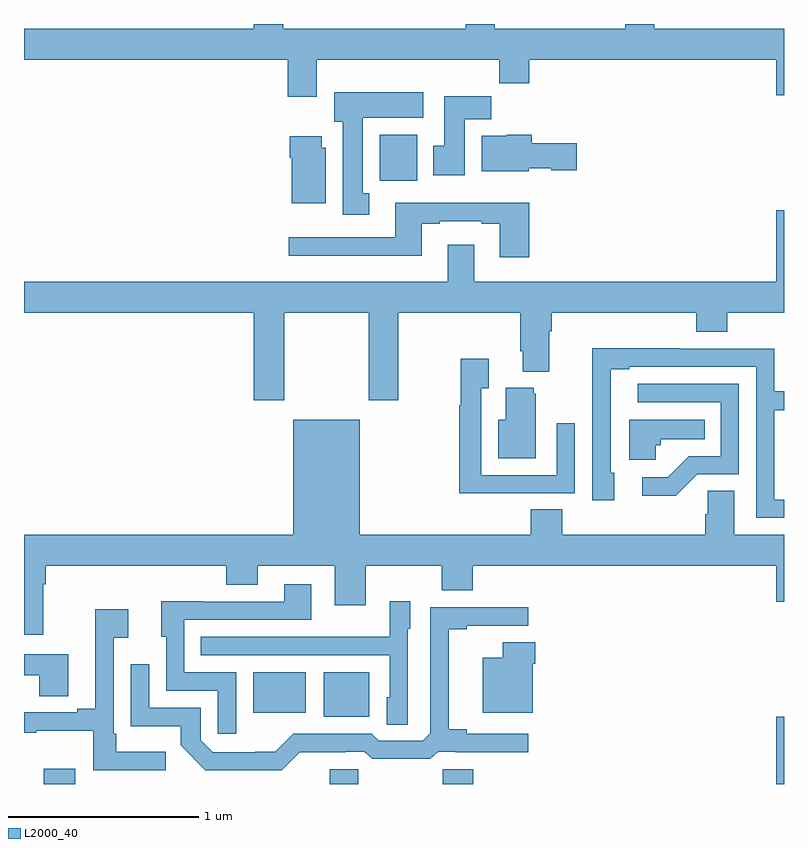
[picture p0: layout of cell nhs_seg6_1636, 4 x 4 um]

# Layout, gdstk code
import gdstk
lib = gdstk.Library(unit=1e-6, precision=1e-09)
def R(c, l, rs):  # rectangles x0, y0, x1, y1
    for r in rs: c.add(gdstk.rectangle(r[:2], r[2:], *l))
def P(c, l, *ps):  # polygons
    for p in ps: c.add(gdstk.Polygon(p, *l))
L2000_40 = (2000, 40)

nhs_seg6_1636 = lib.new_cell('nhs_seg6_1636')
R(nhs_seg6_1636, L2000_40, [(209.105,967.5,209.269,967.579), (210.608,967.5,210.759,967.578), (211.204,967.5,211.364,967.578), (212.96,967.5,213,967.855), (210.578,967.853,210.817,968.089), (210.206,967.874,210.484,968.089), (210.872,970.676,211.069,970.918)])
P(nhs_seg6_1636, L2000_40, [(210.541,971.312),(211.501,971.312),(211.501,971.188),(211.658,971.188),(211.658,971.312),(212.96,971.312),(212.96,971.124),(213,971.124),(213,971.476),(212.317,971.476),(212.317,971.5),(212.165,971.5),(212.165,971.476),(211.478,971.476),(211.478,971.5),(211.325,971.5),(211.325,971.476),(210.365,971.476),(210.365,971.5),(210.209,971.5),(210.209,971.476),(209,971.476),(209,971.312),(210.389,971.312),(210.389,971.118),(210.541,971.118)],
  [(210.817,970.61),(210.784,970.61),(210.784,971.006),(211.102,971.006),(211.102,971.14),(210.632,971.14),(210.632,970.986),(210.677,970.986),(210.677,970.497),(210.817,970.497)],
  [(211.321,971),(211.46,971),(211.46,971.119),(211.211,971.119),(211.211,970.86),(211.154,970.86),(211.154,970.704),(211.321,970.704)],
  [(211.656,970.742),(211.776,970.742),(211.776,970.73),(211.909,970.73),(211.909,970.872),(211.673,970.872),(211.673,970.918),(211.542,970.918),(211.542,970.912),(211.409,970.912),(211.409,970.724),(211.656,970.724)],
  [(210.589,970.848),(210.568,970.848),(210.568,970.909),(210.398,970.909),(210.398,970.796),(210.41,970.796),(210.41,970.556),(210.589,970.556)],
  [(211.658,970.558),(210.953,970.558),(210.953,970.377),(210.393,970.377),(210.393,970.28),(211.093,970.28),(211.093,970.449),(211.189,970.449),(211.189,970.461),(211.409,970.461),(211.409,970.449),(211.505,970.449),(211.505,970.272),(211.658,970.272)],
  [(210.369,969.98),(210.814,969.98),(210.814,969.519),(210.969,969.519),(210.969,969.98),(211.613,969.98),(211.613,969.778),(211.625,969.778),(211.625,969.671),(211.765,969.671),(211.765,969.884),(211.778,969.884),(211.778,969.98),(212.537,969.98),(212.537,969.881),(212.702,969.881),(212.702,969.98),(213,969.98),(213,970.519),(212.96,970.519),(212.96,970.144),(211.369,970.144),(211.369,970.339),(211.229,970.339),(211.229,970.144),(209,970.144),(209,969.98),(210.209,969.98),(210.209,969.519),(210.369,969.519)],
  [(213,968.997),(212.949,968.997),(212.949,969.466),(213,969.466),(213,969.567),(212.949,969.567),(212.949,969.792),(212.453,969.792),(212.453,969.794),(211.99,969.794),(211.99,969.487),(211.992,969.487),(211.992,968.994),(212.107,968.994),(212.107,969.138),(212.088,969.138),(212.088,969.684),(212.185,969.684),(212.185,969.696),(212.853,969.696),(212.853,968.901),(213,968.901)],
  [(211.583,969.03),(211.899,969.03),(211.899,969.4),(211.803,969.4),(211.803,969.126),(211.407,969.126),(211.407,969.583),(211.447,969.583),(211.447,969.739),(211.299,969.739),(211.299,969.494),(211.291,969.494),(211.291,969.029),(211.583,969.029)],
  [(212.544,969.129),(212.763,969.129),(212.763,969.606),(212.229,969.606),(212.229,969.51),(212.667,969.51),(212.667,969.225),(212.498,969.225),(212.387,969.114),(212.253,969.114),(212.253,969.017),(212.431,969.017)],
  [(211.693,969.555),(211.682,969.555),(211.682,969.586),(211.535,969.586),(211.535,969.418),(211.496,969.418),(211.496,969.215),(211.693,969.215)],
  [(209,968.286),(209.101,968.286),(209.101,968.552),(209.114,968.552),(209.114,968.648),(210.065,968.648),(210.065,968.549),(210.229,968.549),(210.229,968.648),(210.635,968.648),(210.635,968.442),(210.799,968.442),(210.799,968.648),(211.199,968.648),(211.199,968.52),(211.363,968.52),(211.363,968.648),(212.96,968.648),(212.96,968.46),(213,968.46),(213,968.812),(212.737,968.812),(212.737,969.044),(212.598,969.044),(212.598,968.921),(212.585,968.921),(212.585,968.812),(211.832,968.812),(211.832,968.945),(211.667,968.945),(211.667,968.812),(210.766,968.812),(210.766,969.418),(210.416,969.418),(210.416,968.812),(209,968.812)],
  [(212.325,969.282),(212.352,969.282),(212.352,969.314),(212.582,969.314),(212.582,969.418),(212.186,969.418),(212.186,969.206),(212.325,969.206)],
  [(210.117,968.088),(209.844,968.088),(209.844,968.364),(210.511,968.364),(210.511,968.551),(210.371,968.551),(210.371,968.46),(209.941,968.46),(209.941,968.462),(209.723,968.462),(209.723,968.274),(209.748,968.274),(209.748,967.992),(210.021,967.992),(210.021,967.764),(210.117,967.764)],
  [(211.02,968.316),(211.033,968.316),(211.033,968.461),(210.924,968.461),(210.924,968.275),(210.607,968.275),(210.607,968.274),(209.929,968.274),(209.929,968.178),(210.924,968.178),(210.924,967.956),(210.908,967.956),(210.908,967.813),(211.02,967.813)],
  [(210.452,967.667),(210.692,967.667),(210.692,967.671),(210.792,967.671),(210.832,967.632),(211.139,967.632),(211.179,967.671),(211.273,967.671),(211.273,967.667),(211.654,967.667),(211.654,967.764),(211.33,967.764),(211.33,967.787),(211.235,967.787),(211.235,968.314),(211.33,968.314),(211.33,968.334),(211.654,968.334),(211.654,968.43),(211.137,968.43),(211.137,967.767),(211.098,967.728),(210.867,967.728),(210.831,967.764),(210.417,967.764),(210.323,967.67),(210.218,967.67),(210.218,967.668),(209.994,967.668),(209.931,967.731),(209.931,967.902),(209.658,967.902),(209.658,968.131),(209.562,968.131),(209.562,967.805),(209.824,967.805),(209.824,967.703),(209.954,967.572),(210.357,967.572)],
  [(209.746,967.669),(209.485,967.669),(209.485,967.765),(209.472,967.765),(209.472,968.27),(209.548,968.27),(209.548,968.419),(209.375,968.419),(209.375,967.897),(209.279,967.897),(209.279,967.878),(209,967.878),(209,967.77),(209.065,967.77),(209.065,967.781),(209.364,967.781),(209.364,967.572),(209.746,967.572)],
  [(211.678,968.132),(211.691,968.132),(211.691,968.245),(211.52,968.245),(211.52,968.164),(211.415,968.164),(211.415,967.874),(211.678,967.874)],
  [(209.233,968.182),(209,968.182),(209,968.072),(209.081,968.072),(209.081,967.963),(209.233,967.963)])

lib.write_gds('nhs_seg6_1636.gds')
